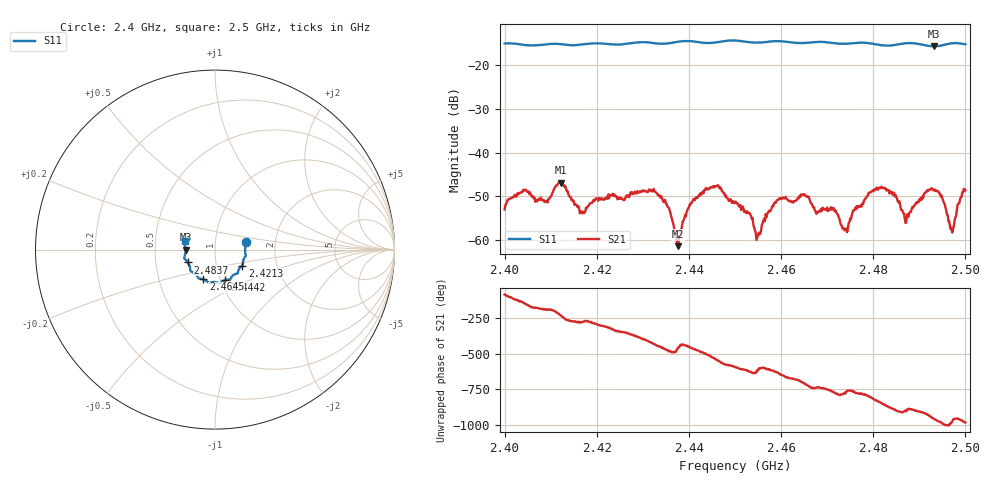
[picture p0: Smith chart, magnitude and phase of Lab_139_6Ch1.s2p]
# Hz S RI R 50
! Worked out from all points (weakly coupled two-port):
!   601 points, 2.4 GHz to 2.5 GHz, reference 50 ohm
!   highest |S21| = -46.85 dB at 2.4122 GHz (marker M1); lowest = -61.4 dB at 2.4377 GHz (marker M2)
!   lowest |S11| = -15.7 dB at 2.4932 GHz (marker M3), VSWR 1.39, Z = 36 - j0.0508 ohm
!   |S11| at or under -10 dB: start of sweep to end of sweep
!   S12 and S22 are empty: the file has one direction only
!   S11 on the Smith chart (normalised r, x): 2.4 GHz: 1.41, +0.12; 2.4213 GHz: 1.33, -0.25; 2.4442 GHz: 1.05, -0.37; 2.4645 GHz: 0.83, -0.29; 2.4837 GHz: 0.73, -0.11; 2.5 GHz: 0.71, +0.07
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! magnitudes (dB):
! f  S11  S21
! 2.4 GHz  -15.1  -53.0
! 2.4092 GHz  -15.3  -51.0
! 2.4122 GHz  -15.2  -46.8
! 2.4167 GHz  -15.3  -53.5
! 2.4213 GHz  -15.1  -50.8
! 2.4333 GHz  -15.1  -49.8
! 2.4377 GHz  -14.7  -61.4
! 2.4405 GHz  -14.5  -51.5
! 2.4442 GHz  -15.0  -48.2
! 2.45 GHz  -14.4  -51.4
! 2.455 GHz  -14.9  -58.8
! 2.459 GHz  -14.5  -51.0
! 2.4645 GHz  -15.0  -49.6
! 2.4667 GHz  -14.8  -51.7
! 2.474 GHz  -15.1  -57.6
! 2.4793 GHz  -15.0  -49.1
! 2.4833 GHz  -15.6  -48.6
! 2.4837 GHz  -15.5  -48.8
! 2.4872 GHz  -15.0  -56.0
! 2.4932 GHz  -15.7  -48.5
! 2.497 GHz  -15.0  -57.2
! 2.5 GHz  -15.3  -48.6
